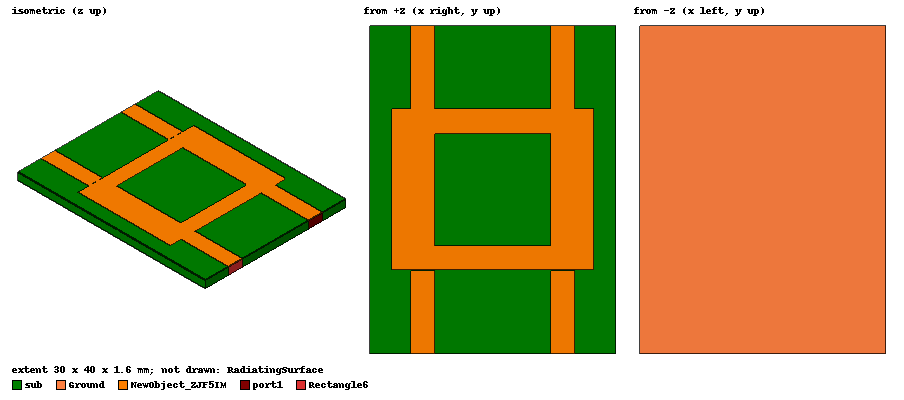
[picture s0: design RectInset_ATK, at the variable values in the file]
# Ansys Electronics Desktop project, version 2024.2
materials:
  vacuum: permittivity=1
  Duroid (tm): permittivity=2.2 dielectric_loss_tangent=0.0009
  FR4_epoxy: permittivity=4.4 dielectric_loss_tangent=0.02
  air: permittivity=1.0006 permeability=1.0000004

design RectInset_ATK (HFSS, HFSS Hybrid Terminal Network, model units mm)
options: Allow_Material_Override Save_Adaptive_support_files
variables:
  # --Antenna Dimensions
  patchX = 1.19cm
  patchY = 0.91cm
  # --Substrate Dimensions
  subH = 0.1575cm
  subX = 2.7cm
  subY = 2.87cm
  # --Feed Dimensions
  InsetDistance = 0.276cm
  InsetGap = 0.247cm
  FeedWidth = 0.493cm
  FeedLength = 0.914cm
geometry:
  sub [FR4_epoxy] = box(corner=(-15mm, -20mm, 0mm), size=(30mm, 40mm, 1.6mm))
  Ground = rectangle(corner=(-15mm, -20mm, 0mm), x_size=30mm, y_size=40mm)
  antenna = rectangle(corner=(-12.35mm, -9.8mm, 1.6mm), x_size=24.7mm, y_size=19.7mm)
  NewObject_ZJF5IM = rectangle(corner=(-7.05mm, -20mm, 1.6mm), x_size=-3mm, y_size=10.15mm)
  NewObject_NUYTPI = rectangle(corner=(-7.05mm, -6.85mm, 1.6mm), x_size=14.1mm, y_size=13.7mm)
  port1 = rectangle(corner=(-10.05mm, 20mm, 1.6mm), z_size=-1.6mm, x_size=3mm)
  RadiatingSurface [air] = region(absolute_offset=1mm on all sides)
  antenna.subtract(NewObject_NUYTPI)
  Rectangle1 = rectangle(corner=(7.05mm, -20mm, 1.6mm), x_size=3mm, y_size=10.15mm)
  Rectangle2 = rectangle(corner=(-7.05mm, 20mm, 1.6mm), x_size=-3mm, y_size=-10.15mm)
  Rectangle3 = rectangle(corner=(7.05mm, 20mm, 1.6mm), x_size=3mm, y_size=-10.15mm)
  Rectangle4 = rectangle(corner=(10.05mm, -20mm, 1.6mm), z_size=-1.6mm, x_size=-3mm)
  Rectangle5 = rectangle(corner=(-10.05mm, -20mm, 1.6mm), z_size=-1.6mm, x_size=3mm)
  Rectangle6 = rectangle(corner=(10.05mm, 20mm, 1.6mm), z_size=-1.6mm, x_size=-3mm)
  NewObject_ZJF5IM.unite(Rectangle1, Rectangle2, Rectangle3, antenna)
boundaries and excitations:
  groundMetal: Perfect E Objects=Ground
  Open1: Radiation Objects=RadiatingSurface
  PerfE1: Perfect E Objects=NewObject_ZJF5IM
  2: Lumped Port Objects=port1 LumpedPortType=Modal Modes{Mode1{IntLine{(-8.55, 20, 0) -> (-8.55, 20, 1.6)} CharImp=Zpi}} Impedance=50ohm
  3: Lumped Port Objects=Rectangle6 LumpedPortType=Modal Modes{Mode1{IntLine{(8.55, 20, 0) -> (8.55, 20, 1.6)} CharImp=Zpi}} Impedance=50ohm
  4: Lumped Port Objects=Rectangle4 LumpedPortType=Modal Modes{Mode1{IntLine{(8.55, -20, 0) -> (8500mm, -20000mm, 1500mm)} CharImp=Zpi}} Impedance=50ohm
  5: Lumped Port Objects=Rectangle5 LumpedPortType=Modal Modes{Mode1{IntLine{(-8.55, -20, 0) -> (-8.55, -20, 1.6)} CharImp=Zpi}} Impedance=50ohm
  reference conductors: antenna
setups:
  Setup1: HfssDriven Frequency=2.4GHz MaxDeltaS=0.02 MaximumPasses=6 MinimumPasses=1 MinimumConvergedPasses=1 PercentRefinement=30 BasisOrder=1 PortAccuracy=2 DrivenSolverType="Direct Solver"
    sweep Sweep: 1GHz to 5GHz step 0.01GHz; Type=Interpolating InterpTolerance=0.5 InterpMaxSolns=250 PassivityErrorTolerance=0.0001
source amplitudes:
  2:1: 1V 0deg
  3:1, 4:1, 5:1: 0V 0deg
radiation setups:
  3D: Infinite Sphere Theta=0deg..180deg step 2deg Phi=-180deg..180deg step 2deg
  Elevation: Infinite Sphere Theta=-180deg..180deg step 1deg Phi=0deg..90deg step 90deg
  Azimuth: Infinite Sphere Theta=90deg..90deg step 0deg Phi=-180deg..180deg step 1deg
  ATK_2D: Infinite Sphere Theta=-180deg..180deg step 1deg Phi=0deg..90deg step 90deg
  ATK_3D: Infinite Sphere Theta=-180deg..180deg step 2deg Phi=0deg..180deg step 5deg
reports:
  S Parameter Plot 1: dB(S(2,2)), dB(S(3,2)), dB(S(4,2)), dB(S(5,2)), dB(S(2,3)), dB(S(3,3)), dB(S(4,3)), dB(S(5,3)), dB(S(2,4)), dB(S(3,4)), dB(S(4,4)), dB(S(5,4)), dB(S(2,5)), dB(S(3,5)), dB(S(4,5)), dB(S(5,5)) vs Freq on Setup1 : Sweep
